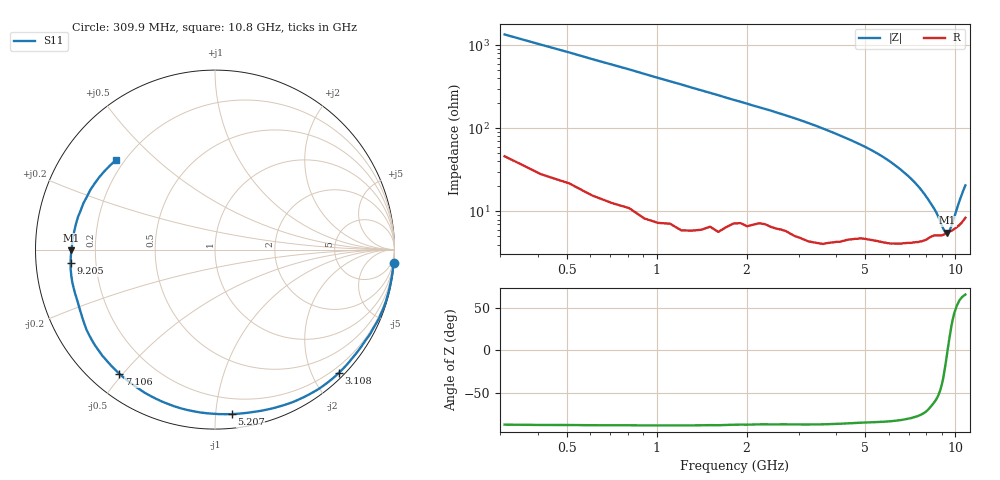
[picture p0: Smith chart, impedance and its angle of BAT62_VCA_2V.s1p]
! Infineon Technologies  Discrete & RF Semiconductors
! BAT62
! VCA = 2 V
! One-Port S-Parameters
# Hz  S  MA  R  50
!f  S11
!Hz  Mag  Ang
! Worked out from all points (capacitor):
!   106 points, 309.9 MHz to 10.8 GHz, reference 50 ohm
!   read as one part to ground: C = 381 fF near 309.9 MHz
!   lowest |Z| = 5.55 ohm at 9.405 GHz (marker M1)
!   series resonance near 9.419 GHz, so ESL is about 750 pH
!   S11 on the Smith chart (normalised r, x): 309.9 MHz: 1, -27; 3.108 GHz: 0.09, -2.42; 5.207 GHz: 0.09, -1.10; 7.106 GHz: 0.08, -0.49; 9.205 GHz: 0.11, -0.05; 10.8 GHz: 0.17, +0.38
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3.0985e8  0.9975 -4.3
1.0095e9  0.9956 -14.1
1.70915e9  0.9888 -24.1
2.4088e9  0.9779 -34.0
3.0085e9  0.9741 -43.1
3.10845e9  0.9736 -44.8
3.70815e9  0.9649 -55.2
4.30785e9  0.9471 -66.4
4.70765e9  0.934 -74.1
5.2074e9  0.9212 -84.2
5.6072e9  0.9127 -93.0
5.90705e9  0.9069 -99.7
6.30685e9  0.8967 -109.2
6.6067e9  0.8884 -116.2
6.90655e9  0.8783 -123.1
7.10645e9  0.8734 -127.7
7.4063e9  0.8639 -134.6
7.70615e9  0.8555 -141.3
8.006e9  0.8436 -148.1
8.2059e9  0.8319 -152.5
8.8056e9  0.816 -164.9
9.2054e9  0.8081 -174.7
9.4053e9  0.8003 -179.6
9.50525e9  0.7966 177.8
9.8051e9  0.7877 169.6
1.010495e10  0.7773 160.6
1.050475e10  0.7607 147.9
1.08046e10  0.7443 137.9
